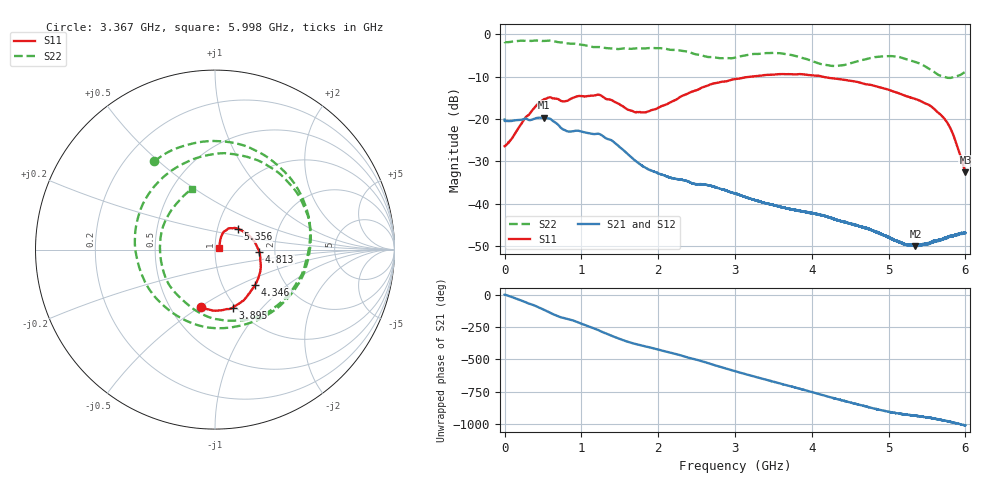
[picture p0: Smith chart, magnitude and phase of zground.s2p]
!  8/6/2020  01:12:14
! Ref Plane: 0.000 mm
# MHZ S MA R  50
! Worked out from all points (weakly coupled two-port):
!   10001 points, 300 kHz to 6 GHz, reference 50 ohm
!   highest |S21| = -19.63 dB at 509.1 MHz (marker M1); lowest = -50.0 dB at 5.349 GHz (marker M2)
!   lowest |S11| = -32.5 dB at 6 GHz (marker M3), VSWR 1.05, Z = 52.4 + j0.511 ohm
!   |S11| at or under -10 dB: start of sweep to 3.196 GHz; 3.197574 GHz to 3.200393 GHz (2.82 MHz wide, 0.0881 % of centre); 4.151 GHz to end of sweep (the widest 3 of 5)
!   |S22| runs from -10.3 to -1.4 dB; largest |S21 - S12| = 0.0021
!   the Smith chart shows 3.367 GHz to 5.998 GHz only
!   S11 on the Smith chart (normalised r, x): 3.367 GHz: 0.71, -0.51; 3.895 GHz: 0.97, -0.71; 4.346 GHz: 1.42, -0.61; 4.813 GHz: 1.66, -0.05; 5.356 GHz: 1.25, +0.30; 5.998 GHz: 1.05, +0.01
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0.3  0.04797 178.5  0.09871 -1.0  0.0966 -0.9  0.8164 -0.3
273.8863  0.1049 -122.8  0.1016 -60.1  0.1017 -60.2  0.8421 -79.5
509.0746  0.1711 -117.2  0.1044 -116.7  0.1044 -116.8  0.8368 -148.8
713.6643  0.1686 -124.7  0.08266 -172.1  0.08276 -172.1  0.8076 153.4
1000.45  0.1871 -118.2  0.07139 134.5  0.07142 134.6  0.7551 74.1
1255.437  0.1902 -131.6  0.06522 75.1  0.06532 75.1  0.7073 -1.0
1541.023  0.1418 -153.6  0.0435 8.2  0.0436 8.1  0.6832 -86.0
2000.6  0.1364 -158.3  0.02292 -65.0  0.02287 -65.0  0.6887 150.0
2257.387  0.1753 -152.4  0.01947 -103.6  0.01953 -103.9  0.6547 84.6
2536.373  0.2271 -143.2  0.01706 -148.9  0.01703 -148.8  0.5754 7.8
3000.15  0.2973 -122.8  0.0132 128.3  0.01325 128.5  0.5327 -137.1
3366.732  0.3293 -103.6  0.01034 68.4  0.01028 68.1  0.5974 124.5
3894.705  0.3381 -73.1  0.008049 -15.9  0.008051 -15.6  0.5226 -5.0
4000.3  0.3297 -66.2  0.007741 -32.5  0.007725 -32.2  0.4867 -34.1
4346.483  0.2975 -41.4  0.006365 -89.4  0.006368 -89.8  0.4273 -145.8
4813.259  0.2477 -3.4  0.004719 -160.4  0.004729 -160.3  0.54 84.0
5000.45  0.222 12.6  0.004044 175.2  0.004005 174.6  0.5545 41.6
5349.033  0.1728 42.0  0.003151 144.0  0.003259 143.9  0.4725 -37.3
5356.232  0.1716 42.5  0.003208 144.2  0.003244 144.5  0.4699 -39.1
5721.614  0.1022 65.0  0.003877 107.8  0.003874 106.9  0.3175 -150.1
5997.6  0.02396 14.2  0.004554 70.3  0.004503 69.8  0.3618 110.5
6000  0.02362 11.9  0.004519 69.7  0.004496 69.2  0.3626 109.8
